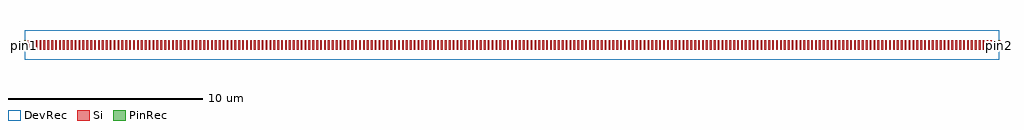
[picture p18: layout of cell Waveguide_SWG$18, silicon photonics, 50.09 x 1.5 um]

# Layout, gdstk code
import gdstk
lib = gdstk.Library(unit=1e-6, precision=1e-09)
def R(c, l, rs):  # rectangles x0, y0, x1, y1
    for r in rs: c.add(gdstk.rectangle(r[:2], r[2:], *l))
def A(c, l, x, y, w, h, nx, ny, dx, dy):  # array of equal rectangles
    R(c, l, [(x+i*dx, y+j*dy, x+i*dx+w, y+j*dy+h) for i in range(nx) for j in range(ny)])
Si = (1, 0)
PinRec = (1, 10)
DevRec = (68, 0)

waveguide_swg_18 = lib.new_cell('Waveguide_SWG$18')
A(waveguide_swg_18, Si, -0.045, -0.25, 0.09, 0.5, 251, 1, 0.2, 0)
R(waveguide_swg_18, DevRec, [(0,-0.75,50,0.75)])
waveguide_swg_18.add(gdstk.FlexPath([(0.01,0),(-0.01,0)], 0.5, ends="flush", simple_path=True, layer=1, datatype=10))  # PinRec
waveguide_swg_18.add(gdstk.FlexPath([(49.99,0),(50.01,0)], 0.5, ends="flush", simple_path=True, layer=1, datatype=10))  # PinRec
waveguide_swg_18.add(gdstk.Label('pin1', (0,0), layer=1, texttype=10))
waveguide_swg_18.add(gdstk.Label('pin2', (50,0), layer=1, texttype=10))
waveguide_swg_18.add(gdstk.Label('Lumerical_INTERCONNECT_library=Design kits/ebeam_v1.2', (0,0), layer=68, texttype=0))
waveguide_swg_18.add(gdstk.Label('Component=NO_MODEL_AVAILABLE', (5,0), layer=68, texttype=0))
waveguide_swg_18.add(gdstk.Label('Spice_param:length=50.000u target_period=0.200u grating_period=0.200u wg_width=0.500u duty=0.450 ', (5.555,-0.18), layer=68, texttype=0))

lib.write_gds('Waveguide_SWG_18.gds')
